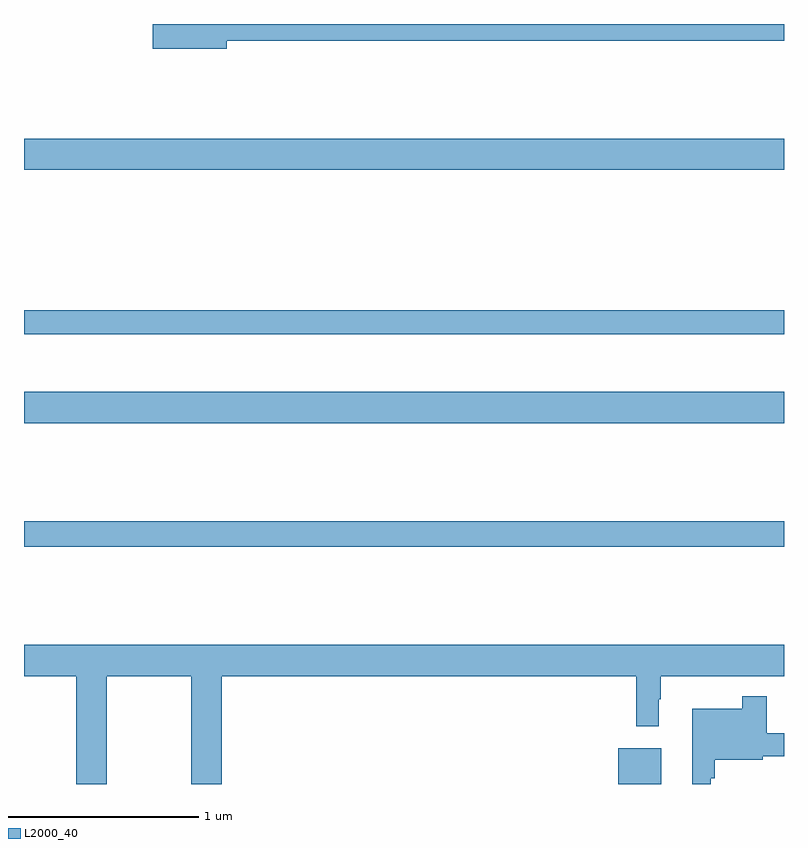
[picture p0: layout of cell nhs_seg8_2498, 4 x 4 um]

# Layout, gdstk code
import gdstk
lib = gdstk.Library(unit=1e-6, precision=1e-09)
def R(c, l, rs):  # rectangles x0, y0, x1, y1
    for r in rs: c.add(gdstk.rectangle(r[:2], r[2:], *l))
def P(c, l, *ps):  # polygons
    for p in ps: c.add(gdstk.Polygon(p, *l))
L2000_40 = (2000, 40)

nhs_seg8_2498 = lib.new_cell('nhs_seg8_2498')
R(nhs_seg8_2498, L2000_40, [(270.128,1147.9,270.355,1148.089), (267,1149.148,271,1149.284), (267,1149.8,271,1149.964), (267,1150.266,271,1150.394), (267,1151.132,271,1151.296)])
P(nhs_seg8_2498, L2000_40, [(268.066,1151.812),(271,1151.812),(271,1151.9),(267.678,1151.9),(267.678,1151.77),(268.066,1151.77)],
  [(267.435,1148.468),(267.88,1148.468),(267.88,1147.9),(268.04,1147.9),(268.04,1148.468),(270.223,1148.468),(270.223,1148.205),(270.34,1148.205),(270.34,1148.345),(270.352,1148.345),(270.352,1148.468),(271,1148.468),(271,1148.632),(267,1148.632),(267,1148.468),(267.275,1148.468),(267.275,1147.9),(267.435,1147.9)],
  [(270.615,1147.931),(270.635,1147.931),(270.635,1148.027),(270.889,1148.027),(270.889,1148.046),(271,1148.046),(271,1148.167),(270.908,1148.167),(270.908,1148.362),(270.78,1148.362),(270.78,1148.296),(270.518,1148.296),(270.518,1147.9),(270.615,1147.9)])

lib.write_gds('nhs_seg8_2498.gds')
